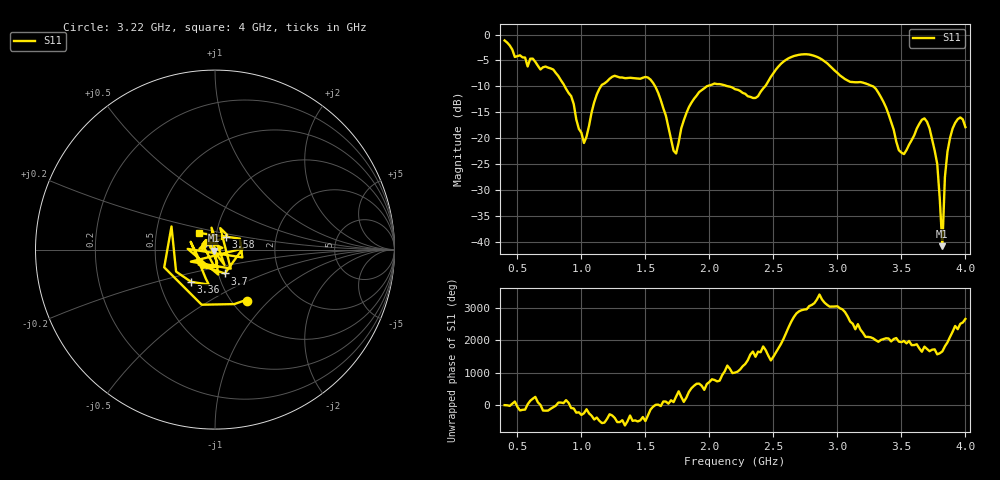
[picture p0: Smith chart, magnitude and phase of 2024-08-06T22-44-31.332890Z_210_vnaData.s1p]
!Created with skrf (http://scikit-rf.org).
# Hz S RI R 50.0
!freq ReS11 ImS11
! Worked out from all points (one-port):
!   181 points, 400 MHz to 4 GHz, reference 50 ohm
!   lowest |S11| = -40.9 dB at 3.82 GHz (marker M1), VSWR 1.02, Z = 49.3 - j0.519 ohm
!   |S11| at or under -10 dB: 869.6 MHz to 1.152 GHz (282.8 MHz wide, 28 % of centre); 1.576 GHz to 1.979 GHz (402.9 MHz wide, 22.7 % of centre); 3.279 GHz to end of sweep (the widest 3 of 4)
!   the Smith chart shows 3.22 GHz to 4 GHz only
!   S11 on the Smith chart (normalised r, x): 3.22 GHz: 1.17, -0.76; 3.36 GHz: 0.72, -0.27; 3.58 GHz: 1.12, +0.16; 3.7 GHz: 1.08, -0.29; 4 GHz: 0.82, +0.15
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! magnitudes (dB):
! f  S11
! 400 MHz  -1.1
! 860 MHz  -9.6
! 920 MHz  -11.9
! 1.02 GHz  -20.9
! 1.14 GHz  -10.5
! 1.3 GHz  -8.3
! 1.54 GHz  -8.7
! 1.66 GHz  -15.7
! 1.72 GHz  -22.4
! 1.76 GHz  -20.8
! 1.82 GHz  -15.2
! 1.92 GHz  -11.1
! 2.2 GHz  -10.5
! 2.36 GHz  -12.3
! 2.66 GHz  -4.1
! 3.1 GHz  -9.1
! 3.22 GHz  -9.4
! 3.36 GHz  -13.0
! 3.48 GHz  -22.3
! 3.56 GHz  -21.3
! 3.58 GHz  -20.4
! 3.7 GHz  -16.8
! 3.78 GHz  -25.0
! 3.82 GHz  -40.9
! 3.84 GHz  -27.5
! 3.88 GHz  -20.0
! 3.94 GHz  -16.3
! 4 GHz  -17.9
